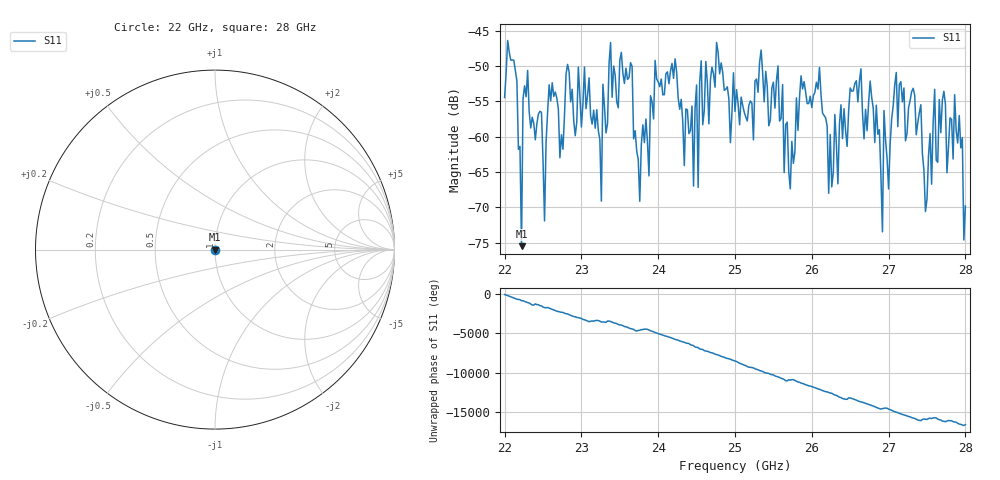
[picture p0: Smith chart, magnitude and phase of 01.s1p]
#  HZ  S  RI  R  50.00
! Rohde & Schwarz ZVA40 4Ports - Version 3.90 - 1145.1110k42 SN: 100403
! Date: 2023-10-04 11:48:34
! Measurement: S12
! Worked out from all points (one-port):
!   301 points, 22 GHz to 28 GHz, reference 50 ohm
!   lowest |S11| = -75.5 dB at 22.22 GHz (marker M1), VSWR 1.00, Z = 50 - j0.0113 ohm
!   |S11| at or under -10 dB: start of sweep to end of sweep
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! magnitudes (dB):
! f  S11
! 22 GHz  -54.5
! 22.16 GHz  -52.1
! 22.22 GHz  -75.5
! 22.24 GHz  -54.7
! 22.3 GHz  -50.6
! 22.52 GHz  -71.9
! 22.58 GHz  -52.7
! 22.76 GHz  -61.8
! 23.04 GHz  -50.1
! 23.26 GHz  -69.1
! 23.28 GHz  -52.6
! 23.5 GHz  -49.2
! 23.76 GHz  -69.1
! 23.96 GHz  -49.2
! 24.26 GHz  -54.5
! 24.52 GHz  -67.2
! 24.56 GHz  -49.3
! 25 GHz  -56.4
! 25.76 GHz  -63.8
! 26.5 GHz  -53.1
! 26.84 GHz  -55.5
! 26.92 GHz  -73.5
! 26.94 GHz  -56.3
! 27.26 GHz  -55.9
! 27.48 GHz  -70.6
! 27.6 GHz  -53.3
! 27.86 GHz  -54.1
! 28 GHz  -69.8
